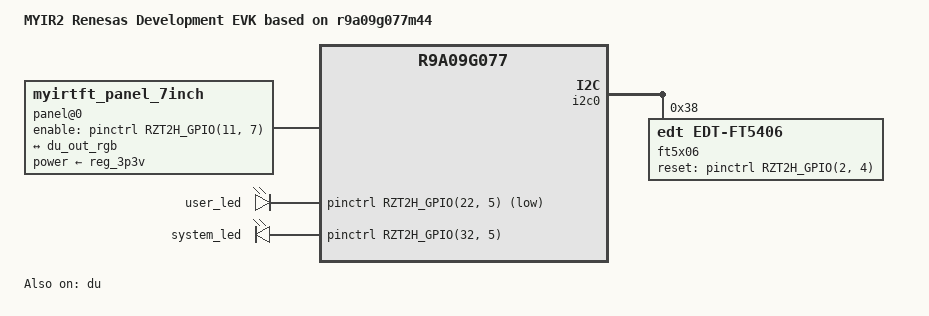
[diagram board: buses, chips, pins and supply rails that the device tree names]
// SPDX-License-Identifier: (GPL-2.0-only OR BSD-2-Clause)
/*
 * Device Tree Source for the MYiR-T2H Development EVK board
 *
 * Copyright (C) 2024 MYiR Electronics Corp.
 */

/*
 * Set DISPLAY_RGB to below values to select using of:
 * - 1: Choose Display-rgb
 * - 0: Set SW11, Choose RS232
 *  When the display is turned on, SCI4, SCI1 cannot be used because of the PIN reuse function.
 */
#define	SEL_DISPLAY_RGB     1

/*
 * Set SEL_ETH2_CON to below values to select using of:
 * - 1: ETH2
 * - 0: CON
 */
#define	SEL_ETH2_CON		1

/*
 * Set SEL_ETH3_CON to below values to select using of:
 * - 1: ETH3, alse Support ETH3's phy ref_clk input.
 * - 0: CON, alse Support for RS485's TX.RX.DE Pin enable.
 */
#define	SEL_ETH3_CON		1

// --------------------------------------------------------------------------------------
// |         	Func Config	    		| SEL_DISPLAY_RGB | SEL_ETH2_CON | SEL_ETH3_CON |
// --------------------------------------------------------------------------------------
// | eth1 + eth2 + lan0 + lan1 + rs232 	|        0        |       1      |       1      | 	Note: RGB and RS485 Can not Used
// | rs485 + eth2 + lan0 + lan1 + rs232	|        0        |       1      |       0      |	Note: RGB and eth1 Can not Used
// | 		RGB + eth2 + rs485			|        1        |       1      |       0      |	Note: eth1 and lan0 and lan1 and RS232 Can not Used
// | 	RGB + eth1 + eth2 + rs485		|        1        |       1      |       1      |	Note: lan0 and lan1 and RS232 Can not Used 
// --------------------------------------------------------------------------------------

#include "myb-yt2hx-base.dts"

/ {
	model = "MYIR2 Renesas Development EVK based on r9a09g077m44";
	compatible = "renesas,r9a09g077m44-dev", "renesas,r9a09g077m44", "renesas,r9a09g077";

	aliases {
		serial0 = &sci0;
		serial1 = &sci1;
		serial3 = &sci3;
		serial4 = &sci4;
		mmc0 = &sdhi0;
		mmc1 = &sdhi1;
		i2c0 = &i2c0;
		i2c1 = &i2c1;
		i2c2 = &i2c2;
		ethernet0 = &gmac1;
		ethernet1 = &gmac2;
	};

	reserved-memory {
		#address-cells = <2>;
		#size-cells = <2>;
		ranges;

		global_cma: linux,cma@D0000000 {
			compatible = "shared-dma-pool";
			linux,cma-default;
			reusable;
			reg = <0x0 0xD0000000 0x0 0x10000000>;
		};
	};

#if (SEL_DISPLAY_RGB)
	panel@0 {
		compatible = "myirtft_panel_7inch";
		power-supply = <&reg_3p3v>;
		enable-gpios = <&pinctrl RZT2H_GPIO(11, 7) GPIO_ACTIVE_HIGH>; // backlight
		status = "okay";
		no-hpd;

		port {
			panel_lcd_in: endpoint {
				remote-endpoint = <&du_out_rgb>;
			};
		};
	};
#endif

    leds {
		compatible = "gpio-leds";
		status = "okay";

		led0 {
			label = "user_led";
			gpios = <&pinctrl RZT2H_GPIO(22, 5) GPIO_ACTIVE_LOW>;
			linux,default-trigger = "default-on";
			default-status = "on";
		};

		led1 {
			label = "system_led";
			gpios = <&pinctrl RZT2H_GPIO(32, 5) GPIO_ACTIVE_HIGH>;
			linux,default-trigger = "heartbeat";
			default-status = "on";
		};
	};

	gpio-select {
			    compatible = "linux-gpio-select";
               		    #size-cells = <0>;

		/* 
		 	S=L, nA=nB1, --> LCD
			S=H, nA=nB2, --> CON and P11_0_ETH_RESET
		 */
		display_con {
			gpio-export,name = "display_con";
			gpios = <&pinctrl RZT2H_GPIO(32, 2) GPIO_ACTIVE_HIGH>;

			#if (SEL_DISPLAY_RGB)
				gpio-export,output = <0>;
			#else
				gpio-export,output = <1>;
			#endif
		};

		/* 
		 	S=L, nA=nB1, --> ETH2
			S=H, nA=nB2, --> CON
		 */
		eth2_con {
			gpio-export,name = "eth2_con";
			gpios = <&pinctrl RZT2H_GPIO(32, 3) GPIO_ACTIVE_HIGH>;

			#if (SEL_ETH2_CON)
				gpio-export,output = <0>;
			#else
				gpio-export,output = <1>;
			#endif
		};

		/* 
		 	S=L, nA=nB1, --> ETH3
			S=H, nA=nB2, --> CON
		 */
		eth3_con {
			gpio-export,name = "eth3_con";
			gpios = <&pinctrl RZT2H_GPIO(8, 5) GPIO_ACTIVE_HIGH>;

			#if (SEL_ETH3_CON)
				gpio-export,output = <0>;
			#else
				gpio-export,output = <1>;
			#endif
		};
		
		#if (!SEL_ETH3_CON)
		eth3refclk_rs485_sw {
			gpio-export,name = "eth3refclk_rs485_sw";
			gpios = <&pinctrl RZT2H_GPIO(34, 6) GPIO_ACTIVE_HIGH>;
			gpio-export,output = <1>;
			linux,default-trigger = "default-on";
			default-state = "on";
		};
		#endif
    };
};

&du {
#if (SEL_DISPLAY_RGB)
	pinctrl-0 = <&du_pins>;
	pinctrl-names = "default";
	status = "okay";

	ports {
		port@0 {
			du_out_rgb: endpoint {
				remote-endpoint = <&panel_lcd_in>;
			};
		};
    };
#else
    status = "disabled";
#endif
};

&i2c0 {
	status = "okay";

	ft5x06: ft5x06@38 {
		compatible = "edt,edt-ft5406", "edt,edt-ft5x06";
		reg = <0x38>;
		interrupts = <GIC_SPI 19 IRQ_TYPE_EDGE_RISING>;   // IRQ3
		reset-gpios = <&pinctrl RZT2H_GPIO(2, 4) GPIO_ACTIVE_HIGH>;
		touchscreen-size-x=<800>;
		touchscreen-size-y=<480>;
	};
};
